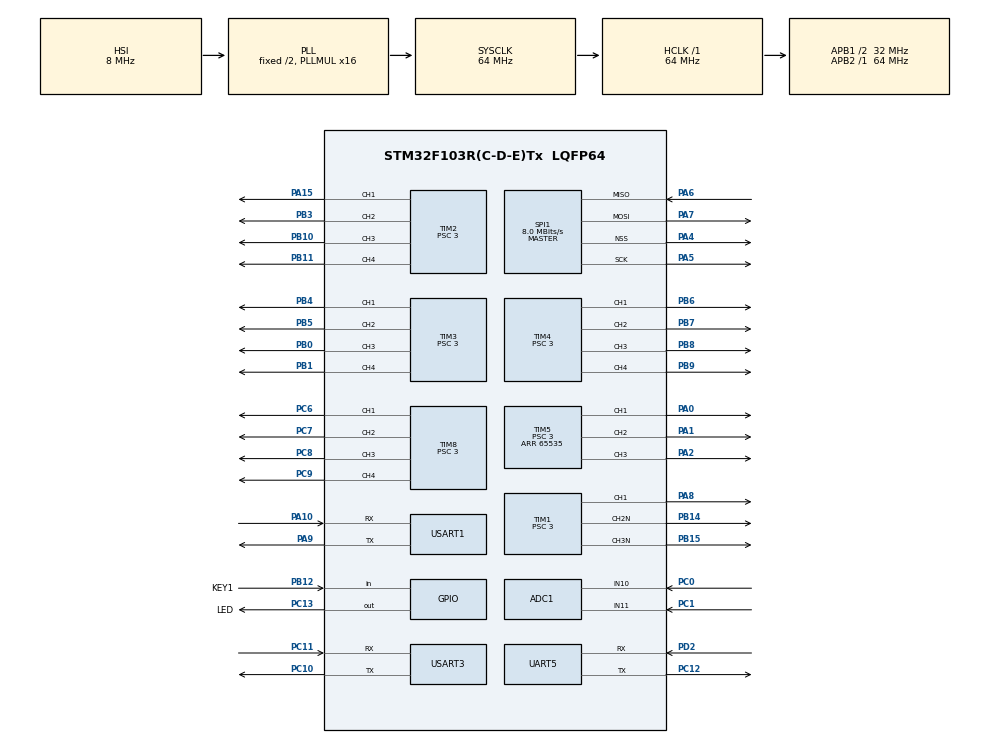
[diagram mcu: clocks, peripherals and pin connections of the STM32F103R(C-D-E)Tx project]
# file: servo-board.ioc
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ADC1.Channel-0\#ChannelRegularConversion=ADC_CHANNEL_11
ADC1.Channel-1\#ChannelRegularConversion=ADC_CHANNEL_10
ADC1.NbrOfConversion=2
ADC1.NbrOfConversionFlag=1
ADC1.Rank-0\#ChannelRegularConversion=1
ADC1.Rank-1\#ChannelRegularConversion=2
ADC1.SamplingTime-0\#ChannelRegularConversion=ADC_SAMPLETIME_1CYCLE_5
ADC1.SamplingTime-1\#ChannelRegularConversion=ADC_SAMPLETIME_1CYCLE_5
ADC1.master=1
Dma.Request0=USART1_RX
Dma.Request1=USART3_RX
Dma.USART1_RX.0.Direction=DMA_PERIPH_TO_MEMORY
Dma.USART1_RX.0.Instance=DMA1_Channel5
Dma.USART1_RX.0.MemDataAlignment=DMA_MDATAALIGN_BYTE
Dma.USART1_RX.0.MemInc=DMA_MINC_ENABLE
Dma.USART1_RX.0.Mode=DMA_NORMAL
Dma.USART1_RX.0.PeriphDataAlignment=DMA_PDATAALIGN_BYTE
Dma.USART1_RX.0.PeriphInc=DMA_PINC_DISABLE
Dma.USART1_RX.0.Priority=DMA_PRIORITY_LOW
Dma.USART3_RX.1.Direction=DMA_PERIPH_TO_MEMORY
Dma.USART3_RX.1.Instance=DMA1_Channel3
Dma.USART3_RX.1.MemDataAlignment=DMA_MDATAALIGN_BYTE
Dma.USART3_RX.1.MemInc=DMA_MINC_ENABLE
Dma.USART3_RX.1.Mode=DMA_NORMAL
Dma.USART3_RX.1.PeriphDataAlignment=DMA_PDATAALIGN_BYTE
Dma.USART3_RX.1.PeriphInc=DMA_PINC_DISABLE
Dma.USART3_RX.1.Priority=DMA_PRIORITY_LOW
Mcu.Family=STM32F1
Mcu.Name=STM32F103R(C-D-E)Tx
Mcu.Package=LQFP64
NVIC.ADC1_2_IRQn=true\:0\:0\:false\:false\:true\:true\:true\:true
NVIC.DMA1_Channel3_IRQn=true\:0\:0\:false\:false\:true\:false\:true\:true
NVIC.DMA1_Channel5_IRQn=true\:0\:0\:false\:false\:true\:false\:true\:true
NVIC.PriorityGroup=NVIC_PRIORITYGROUP_4
NVIC.TIM1_CC_IRQn=true\:0\:0\:false\:false\:true\:true\:true\:true
NVIC.TIM1_UP_IRQn=true\:0\:0\:false\:false\:true\:true\:true\:true
NVIC.TIM2_IRQn=true\:0\:0\:false\:false\:true\:true\:true\:true
NVIC.TIM3_IRQn=true\:0\:0\:false\:false\:true\:true\:true\:true
NVIC.TIM4_IRQn=true\:0\:0\:false\:false\:true\:true\:true\:true
NVIC.TIM5_IRQn=true\:0\:0\:false\:false\:true\:true\:true\:true
NVIC.TIM8_CC_IRQn=true\:0\:0\:false\:false\:true\:true\:true\:true
NVIC.TIM8_UP_IRQn=true\:0\:0\:false\:false\:true\:true\:true\:true
NVIC.UART5_IRQn=true\:0\:0\:false\:false\:true\:true\:true\:true
NVIC.USART1_IRQn=true\:0\:0\:false\:false\:true\:true\:true\:true
NVIC.USART3_IRQn=true\:0\:0\:false\:false\:true\:true\:true\:true
PA0-WKUP.Signal=S_TIM5_CH1
PA1.Signal=S_TIM5_CH2
PA10.Mode=Asynchronous
PA10.Signal=USART1_RX
PA13.Mode=Serial_Wire
PA13.Signal=SYS_JTMS-SWDIO
PA14.Mode=Serial_Wire
PA14.Signal=SYS_JTCK-SWCLK
PA15.Signal=S_TIM2_CH1_ETR
PA2.Signal=S_TIM5_CH3
PA4.Mode=NSS_Signal_Hard_Output
PA4.Signal=SPI1_NSS
PA5.Mode=Full_Duplex_Master
PA5.Signal=SPI1_SCK
PA6.Mode=Full_Duplex_Master
PA6.Signal=SPI1_MISO
PA7.Mode=Full_Duplex_Master
PA7.Signal=SPI1_MOSI
PA8.Signal=S_TIM1_CH1
PA9.Mode=Asynchronous
PA9.Signal=USART1_TX
PB0.Signal=S_TIM3_CH3
PB1.Signal=S_TIM3_CH4
PB10.Signal=S_TIM2_CH3
PB11.Signal=S_TIM2_CH4
PB12.GPIO_Label=KEY1
PB12.Signal=GPIO_Input
PB14.Mode=PWM Generation2 CH2N
PB14.Signal=TIM1_CH2N
PB15.Mode=PWM Generation3 CH3N
PB15.Signal=TIM1_CH3N
PB3.Signal=S_TIM2_CH2
PB4.Signal=S_TIM3_CH1
PB5.Signal=S_TIM3_CH2
PB6.Signal=S_TIM4_CH1
PB7.Signal=S_TIM4_CH2
PB8.Signal=S_TIM4_CH3
PB9.Signal=S_TIM4_CH4
PC0.Signal=ADCx_IN10
PC1.Signal=ADCx_IN11
PC10.Mode=Asynchronous
PC10.Signal=USART3_TX
PC11.Mode=Asynchronous
PC11.Signal=USART3_RX
PC12.Mode=Asynchronous
PC12.Signal=UART5_TX
PC13-TAMPER-RTC.GPIO_Label=LED
PC13-TAMPER-RTC.Signal=GPIO_Output
PC6.Signal=S_TIM8_CH1
PC7.Signal=S_TIM8_CH2
PC8.Signal=S_TIM8_CH3
PC9.Signal=S_TIM8_CH4
PD2.Mode=Asynchronous
PD2.Signal=UART5_RX
ProjectManager.HeapSize=0x200
ProjectManager.StackSize=0x400
ProjectManager.TargetToolchain=STM32CubeIDE
RCC.ADCPresc=RCC_ADCPCLK2_DIV8
RCC.AHBFreq_Value=64000000
RCC.APB1CLKDivider=RCC_HCLK_DIV2
RCC.APB1Freq_Value=32000000
RCC.APB1TimFreq_Value=64000000
RCC.APB2Freq_Value=64000000
RCC.APB2TimFreq_Value=64000000
RCC.HCLKFreq_Value=64000000
RCC.PLLMUL=RCC_PLL_MUL16
RCC.SYSCLKFreq_VALUE=64000000
RCC.SYSCLKSource=RCC_SYSCLKSOURCE_PLLCLK
RCC.USBFreq_Value=64000000
SH.ADCx_IN10.0=ADC1_IN10,IN10
SH.ADCx_IN11.0=ADC1_IN11,IN11
SH.S_TIM1_CH1.0=TIM1_CH1,PWM Generation1 CH1
SH.S_TIM2_CH1_ETR.0=TIM2_CH1,PWM Generation1 CH1
SH.S_TIM2_CH2.0=TIM2_CH2,PWM Generation2 CH2
SH.S_TIM2_CH3.0=TIM2_CH3,PWM Generation3 CH3
SH.S_TIM2_CH4.0=TIM2_CH4,PWM Generation4 CH4
SH.S_TIM3_CH1.0=TIM3_CH1,PWM Generation1 CH1
SH.S_TIM3_CH2.0=TIM3_CH2,PWM Generation2 CH2
SH.S_TIM3_CH3.0=TIM3_CH3,PWM Generation3 CH3
SH.S_TIM3_CH4.0=TIM3_CH4,PWM Generation4 CH4
SH.S_TIM4_CH1.0=TIM4_CH1,PWM Generation1 CH1
SH.S_TIM4_CH2.0=TIM4_CH2,PWM Generation2 CH2
SH.S_TIM4_CH3.0=TIM4_CH3,PWM Generation3 CH3
SH.S_TIM4_CH4.0=TIM4_CH4,PWM Generation4 CH4
SH.S_TIM5_CH1.0=TIM5_CH1,PWM Generation1 CH1
SH.S_TIM5_CH2.0=TIM5_CH2,PWM Generation2 CH2
SH.S_TIM5_CH3.0=TIM5_CH3,PWM Generation3 CH3
SH.S_TIM8_CH1.0=TIM8_CH1,PWM Generation1 CH1
SH.S_TIM8_CH2.0=TIM8_CH2,PWM Generation2 CH2
SH.S_TIM8_CH3.0=TIM8_CH3,PWM Generation3 CH3
SH.S_TIM8_CH4.0=TIM8_CH4,PWM Generation4 CH4
SPI1.BaudRatePrescaler=SPI_BAUDRATEPRESCALER_8
SPI1.CalculateBaudRate=8.0 MBits/s
SPI1.Direction=SPI_DIRECTION_2LINES
SPI1.Mode=SPI_MODE_MASTER
SPI1.VirtualNSS=VM_NSSHARD
SPI1.VirtualType=VM_MASTER
TIM1.Channel-PWM\ Generation1\ CH1=TIM_CHANNEL_1
TIM1.Channel-PWM\ Generation2\ CH2N=TIM_CHANNEL_2
TIM1.Channel-PWM\ Generation3\ CH3N=TIM_CHANNEL_3
TIM1.Prescaler=3
TIM1.Pulse-PWM\ Generation1\ CH1=32767
TIM1.Pulse-PWM\ Generation2\ CH2N=32767
TIM1.Pulse-PWM\ Generation3\ CH3N=32767
TIM2.Channel-PWM\ Generation1\ CH1=TIM_CHANNEL_1
TIM2.Channel-PWM\ Generation2\ CH2=TIM_CHANNEL_2
TIM2.Channel-PWM\ Generation3\ CH3=TIM_CHANNEL_3
TIM2.Channel-PWM\ Generation4\ CH4=TIM_CHANNEL_4
TIM2.Prescaler=3
TIM2.Pulse-PWM\ Generation1\ CH1=32767
TIM2.Pulse-PWM\ Generation2\ CH2=32767
TIM2.Pulse-PWM\ Generation3\ CH3=32767
TIM2.Pulse-PWM\ Generation4\ CH4=32767
TIM3.Channel-PWM\ Generation1\ CH1=TIM_CHANNEL_1
TIM3.Channel-PWM\ Generation2\ CH2=TIM_CHANNEL_2
TIM3.Channel-PWM\ Generation3\ CH3=TIM_CHANNEL_3
TIM3.Channel-PWM\ Generation4\ CH4=TIM_CHANNEL_4
TIM3.Prescaler=3
TIM3.Pulse-PWM\ Generation1\ CH1=32767
TIM3.Pulse-PWM\ Generation2\ CH2=32767
TIM3.Pulse-PWM\ Generation3\ CH3=32767
TIM3.Pulse-PWM\ Generation4\ CH4=32767
TIM4.Channel-PWM\ Generation1\ CH1=TIM_CHANNEL_1
TIM4.Channel-PWM\ Generation2\ CH2=TIM_CHANNEL_2
TIM4.Channel-PWM\ Generation3\ CH3=TIM_CHANNEL_3
TIM4.Channel-PWM\ Generation4\ CH4=TIM_CHANNEL_4
TIM4.Prescaler=3
TIM4.Pulse-PWM\ Generation1\ CH1=32767
TIM4.Pulse-PWM\ Generation2\ CH2=32767
TIM4.Pulse-PWM\ Generation3\ CH3=32767
TIM4.Pulse-PWM\ Generation4\ CH4=32767
TIM5.Channel-PWM\ Generation1\ CH1=TIM_CHANNEL_1
TIM5.Channel-PWM\ Generation2\ CH2=TIM_CHANNEL_2
TIM5.Channel-PWM\ Generation3\ CH3=TIM_CHANNEL_3
TIM5.Period=65535
TIM5.Prescaler=3
TIM5.Pulse-PWM\ Generation1\ CH1=32767
TIM5.Pulse-PWM\ Generation2\ CH2=32767
TIM5.Pulse-PWM\ Generation3\ CH3=32767
TIM8.Channel-PWM\ Generation1\ CH1=TIM_CHANNEL_1
TIM8.Channel-PWM\ Generation2\ CH2=TIM_CHANNEL_2
TIM8.Channel-PWM\ Generation3\ CH3=TIM_CHANNEL_3
TIM8.Channel-PWM\ Generation4\ CH4=TIM_CHANNEL_4
TIM8.Prescaler=3
TIM8.Pulse-PWM\ Generation1\ CH1=32767
TIM8.Pulse-PWM\ Generation2\ CH2=32767
TIM8.Pulse-PWM\ Generation3\ CH3=32767
TIM8.Pulse-PWM\ Generation4\ CH4=32767
UART5.VirtualMode=Asynchronous
USART1.VirtualMode=VM_ASYNC
USART3.VirtualMode=VM_ASYNC
VP_TIM1_VS_ClockSourceINT.Mode=Internal
VP_TIM2_VS_ClockSourceINT.Mode=Internal
VP_TIM3_VS_ClockSourceINT.Mode=Internal
VP_TIM4_VS_ClockSourceINT.Mode=Internal
VP_TIM5_VS_ClockSourceINT.Mode=Internal
VP_TIM8_VS_ClockSourceINT.Mode=Internal
board=custom

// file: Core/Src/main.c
/* USER CODE BEGIN Header */
/**
  ******************************************************************************
  * @file           : main.c
  * @brief          : Main program body
  ******************************************************************************
  * @attention
  *
  * Copyright (c) 2024 STMicroelectronics.
  * All rights reserved.
  *
  * This software is licensed under terms that can be found in the LICENSE file
  * in the root directory of this software component.
  * If no LICENSE file comes with this software, it is provided AS-IS.
  *
  ******************************************************************************
  */
/* USER CODE END Header */
#include "main.h"

ADC_HandleTypeDef hadc1;

SPI_HandleTypeDef hspi1;

TIM_HandleTypeDef htim1;
TIM_HandleTypeDef htim2;
TIM_HandleTypeDef htim3;
TIM_HandleTypeDef htim4;
TIM_HandleTypeDef htim5;
TIM_HandleTypeDef htim8;

UART_HandleTypeDef huart5;
UART_HandleTypeDef huart1;
UART_HandleTypeDef huart3;
DMA_HandleTypeDef hdma_usart1_rx;
DMA_HandleTypeDef hdma_usart3_rx;

void SystemClock_Config(void);
static void MX_GPIO_Init(void);
static void MX_DMA_Init(void);
static void MX_SPI1_Init(void);
static void MX_TIM1_Init(void);
static void MX_TIM2_Init(void);
static void MX_TIM3_Init(void);
static void MX_TIM4_Init(void);
static void MX_TIM8_Init(void);
static void MX_USART1_UART_Init(void);
static void MX_USART3_UART_Init(void);
static void MX_ADC1_Init(void);
static void MX_TIM5_Init(void);
static void MX_UART5_Init(void);

int main(void)
{

  /* MCU Configuration--------------------------------------------------------*/

  /* Reset of all peripherals, Initializes the Flash interface and the Systick. */
  HAL_Init();

  /* Configure the system clock */
  SystemClock_Config();

  /* Initialize all configured peripherals */
  MX_GPIO_Init();
  MX_DMA_Init();
  MX_SPI1_Init();
  MX_TIM1_Init();
  MX_TIM2_Init();
  MX_TIM3_Init();
  MX_TIM4_Init();
  MX_TIM8_Init();
  MX_USART1_UART_Init();
  MX_USART3_UART_Init();
  MX_ADC1_Init();
  MX_TIM5_Init();
  MX_UART5_Init();
  /* USER CODE BEGIN 2 */

    TIM_HandleTypeDef *htim;

    htim = &htim1;
    HAL_TIM_PWM_Start(htim, TIM_CHANNEL_1);
    HAL_TIM_PWM_Start(htim, TIM_CHANNEL_2);
    HAL_TIM_PWM_Start(htim, TIM_CHANNEL_3);
    HAL_TIM_PWM_Start(htim, TIM_CHANNEL_4);

    htim = &htim2;
    HAL_TIM_PWM_Start(htim, TIM_CHANNEL_1);
    HAL_TIM_PWM_Start(htim, TIM_CHANNEL_2);
    HAL_TIM_PWM_Start(htim, TIM_CHANNEL_3);
    HAL_TIM_PWM_Start(htim, TIM_CHANNEL_4);

    htim = &htim3;
    HAL_TIM_PWM_Start(htim, TIM_CHANNEL_1);
    HAL_TIM_PWM_Start(htim, TIM_CHANNEL_2);
    HAL_TIM_PWM_Start(htim, TIM_CHANNEL_3);
    HAL_TIM_PWM_Start(htim, TIM_CHANNEL_4);

    htim = &htim5;
    HAL_TIM_PWM_Start(htim, TIM_CHANNEL_1);
    HAL_TIM_PWM_Start(htim, TIM_CHANNEL_2);
    HAL_TIM_PWM_Start(htim, TIM_CHANNEL_3);
    HAL_TIM_PWM_Start(htim, TIM_CHANNEL_4);

    htim = &htim8;
    HAL_TIM_PWM_Start(htim, TIM_CHANNEL_1);
    HAL_TIM_PWM_Start(htim, TIM_CHANNEL_2);
    HAL_TIM_PWM_Start(htim, TIM_CHANNEL_3);
    HAL_TIM_PWM_Start(htim, TIM_CHANNEL_4);

  /* USER CODE END 2 */

  /* Infinite loop */
  /* USER CODE BEGIN WHILE */

  unsigned int cntr = 0;

  while (1)
  {
    /* USER CODE END WHILE */

      HAL_Delay(1);

      htim = &htim1;
      htim->Instance->CCR1 = cntr;
      htim->Instance->CCR2 = cntr;
      htim->Instance->CCR3 = cntr;
      htim->Instance->CCR4 = cntr;

      htim = &htim2;
      htim->Instance->CCR1 = cntr;
      htim->Instance->CCR2 = cntr;
      htim->Instance->CCR3 = cntr;
      htim->Instance->CCR4 = cntr;

      htim = &htim3;
      htim->Instance->CCR1 = cntr;
      htim->Instance->CCR2 = cntr;
      htim->Instance->CCR3 = cntr;
      htim->Instance->CCR4 = cntr;

      htim = &htim5;
      htim->Instance->CCR1 = cntr;
      htim->Instance->CCR2 = cntr;
      htim->Instance->CCR3 = cntr;
      htim->Instance->CCR4 = cntr;

      htim = &htim8;
      htim->Instance->CCR1 = cntr;
      htim->Instance->CCR2 = cntr;
      htim->Instance->CCR3 = cntr;
      htim->Instance->CCR4 = cntr;

      cntr += 5;
      cntr = cntr & 0xffff;

  }
}

void SystemClock_Config(void)
{
  RCC_OscInitTypeDef RCC_OscInitStruct = {0};
  RCC_ClkInitTypeDef RCC_ClkInitStruct = {0};
  RCC_PeriphCLKInitTypeDef PeriphClkInit = {0};

  /** Initializes the RCC Oscillators according to the specified parameters
  * in the RCC_OscInitTypeDef structure.
  */
  RCC_OscInitStruct.OscillatorType = RCC_OSCILLATORTYPE_HSI;
  RCC_OscInitStruct.HSIState = RCC_HSI_ON;
  RCC_OscInitStruct.HSICalibrationValue = RCC_HSICALIBRATION_DEFAULT;
  RCC_OscInitStruct.PLL.PLLState = RCC_PLL_ON;
  RCC_OscInitStruct.PLL.PLLSource = RCC_PLLSOURCE_HSI_DIV2;
  RCC_OscInitStruct.PLL.PLLMUL = RCC_PLL_MUL16;
  if (HAL_RCC_OscConfig(&RCC_OscInitStruct) != HAL_OK)
  {
    Error_Handler();
  }

  /** Initializes the CPU, AHB and APB buses clocks
  */
  RCC_ClkInitStruct.ClockType = RCC_CLOCKTYPE_HCLK|RCC_CLOCKTYPE_SYSCLK
                              |RCC_CLOCKTYPE_PCLK1|RCC_CLOCKTYPE_PCLK2;
  RCC_ClkInitStruct.SYSCLKSource = RCC_SYSCLKSOURCE_PLLCLK;
  RCC_ClkInitStruct.AHBCLKDivider = RCC_SYSCLK_DIV1;
  RCC_ClkInitStruct.APB1CLKDivider = RCC_HCLK_DIV2;
  RCC_ClkInitStruct.APB2CLKDivider = RCC_HCLK_DIV1;

  if (HAL_RCC_ClockConfig(&RCC_ClkInitStruct, FLASH_LATENCY_2) != HAL_OK)
  {
    Error_Handler();
  }
  PeriphClkInit.PeriphClockSelection = RCC_PERIPHCLK_ADC;
  PeriphClkInit.AdcClockSelection = RCC_ADCPCLK2_DIV8;
  if (HAL_RCCEx_PeriphCLKConfig(&PeriphClkInit) != HAL_OK)
  {
    Error_Handler();
  }
}

static void MX_ADC1_Init(void)
{

  ADC_ChannelConfTypeDef sConfig = {0};

  /** Common config
  */
  hadc1.Instance = ADC1;
  hadc1.Init.ScanConvMode = ADC_SCAN_ENABLE;
  hadc1.Init.ContinuousConvMode = DISABLE;
  hadc1.Init.DiscontinuousConvMode = DISABLE;
  hadc1.Init.ExternalTrigConv = ADC_SOFTWARE_START;
  hadc1.Init.DataAlign = ADC_DATAALIGN_RIGHT;
  hadc1.Init.NbrOfConversion = 2;
  if (HAL_ADC_Init(&hadc1) != HAL_OK)
  {
    Error_Handler();
  }

  /** Configure Regular Channel
  */
  sConfig.Channel = ADC_CHANNEL_11;
  sConfig.Rank = ADC_REGULAR_RANK_1;
  sConfig.SamplingTime = ADC_SAMPLETIME_1CYCLE_5;
  if (HAL_ADC_ConfigChannel(&hadc1, &sConfig) != HAL_OK)
  {
    Error_Handler();
  }

  /** Configure Regular Channel
  */
  sConfig.Channel = ADC_CHANNEL_10;
  sConfig.Rank = ADC_REGULAR_RANK_2;
  if (HAL_ADC_ConfigChannel(&hadc1, &sConfig) != HAL_OK)
  {
    Error_Handler();
  }

}

static void MX_SPI1_Init(void)
{

  /* SPI1 parameter configuration*/
  hspi1.Instance = SPI1;
  hspi1.Init.Mode = SPI_MODE_MASTER;
  hspi1.Init.Direction = SPI_DIRECTION_2LINES;
  hspi1.Init.DataSize = SPI_DATASIZE_8BIT;
  hspi1.Init.CLKPolarity = SPI_POLARITY_LOW;
  hspi1.Init.CLKPhase = SPI_PHASE_1EDGE;
  hspi1.Init.NSS = SPI_NSS_HARD_OUTPUT;
  hspi1.Init.BaudRatePrescaler = SPI_BAUDRATEPRESCALER_8;
  hspi1.Init.FirstBit = SPI_FIRSTBIT_MSB;
  hspi1.Init.TIMode = SPI_TIMODE_DISABLE;
  hspi1.Init.CRCCalculation = SPI_CRCCALCULATION_DISABLE;
  hspi1.Init.CRCPolynomial = 10;
  if (HAL_SPI_Init(&hspi1) != HAL_OK)
  {
    Error_Handler();
  }

}

static void MX_TIM1_Init(void)
{

  TIM_ClockConfigTypeDef sClockSourceConfig = {0};
  TIM_MasterConfigTypeDef sMasterConfig = {0};
  TIM_OC_InitTypeDef sConfigOC = {0};
  TIM_BreakDeadTimeConfigTypeDef sBreakDeadTimeConfig = {0};

  htim1.Instance = TIM1;
  htim1.Init.Prescaler = 3;
  htim1.Init.CounterMode = TIM_COUNTERMODE_UP;
  htim1.Init.Period = 65535;
  htim1.Init.ClockDivision = TIM_CLOCKDIVISION_DIV1;
  htim1.Init.RepetitionCounter = 0;
  htim1.Init.AutoReloadPreload = TIM_AUTORELOAD_PRELOAD_DISABLE;
  if (HAL_TIM_Base_Init(&htim1) != HAL_OK)
  {
    Error_Handler();
  }
  sClockSourceConfig.ClockSource = TIM_CLOCKSOURCE_INTERNAL;
  if (HAL_TIM_ConfigClockSource(&htim1, &sClockSourceConfig) != HAL_OK)
  {
    Error_Handler();
  }
  if (HAL_TIM_PWM_Init(&htim1) != HAL_OK)
  {
    Error_Handler();
  }
  sMasterConfig.MasterOutputTrigger = TIM_TRGO_RESET;
  sMasterConfig.MasterSlaveMode = TIM_MASTERSLAVEMODE_DISABLE;
  if (HAL_TIMEx_MasterConfigSynchronization(&htim1, &sMasterConfig) != HAL_OK)
  {
    Error_Handler();
  }
  sConfigOC.OCMode = TIM_OCMODE_PWM1;
  sConfigOC.Pulse = 32767;
  sConfigOC.OCPolarity = TIM_OCPOLARITY_HIGH;
  sConfigOC.OCNPolarity = TIM_OCNPOLARITY_HIGH;
  sConfigOC.OCFastMode = TIM_OCFAST_DISABLE;
  sConfigOC.OCIdleState = TIM_OCIDLESTATE_RESET;
  sConfigOC.OCNIdleState = TIM_OCNIDLESTATE_RESET;
  if (HAL_TIM_PWM_ConfigChannel(&htim1, &sConfigOC, TIM_CHANNEL_1) != HAL_OK)
  {
    Error_Handler();
  }
  if (HAL_TIM_PWM_ConfigChannel(&htim1, &sConfigOC, TIM_CHANNEL_2) != HAL_OK)
  {
    Error_Handler();
  }
  if (HAL_TIM_PWM_ConfigChannel(&htim1, &sConfigOC, TIM_CHANNEL_3) != HAL_OK)
  {
    Error_Handler();
  }
  sBreakDeadTimeConfig.OffStateRunMode = TIM_OSSR_DISABLE;
  sBreakDeadTimeConfig.OffStateIDLEMode = TIM_OSSI_DISABLE;
  sBreakDeadTimeConfig.LockLevel = TIM_LOCKLEVEL_OFF;
  sBreakDeadTimeConfig.DeadTime = 0;
  sBreakDeadTimeConfig.BreakState = TIM_BREAK_DISABLE;
  sBreakDeadTimeConfig.BreakPolarity = TIM_BREAKPOLARITY_HIGH;
  sBreakDeadTimeConfig.AutomaticOutput = TIM_AUTOMATICOUTPUT_DISABLE;
  if (HAL_TIMEx_ConfigBreakDeadTime(&htim1, &sBreakDeadTimeConfig) != HAL_OK)
  {
    Error_Handler();
  }
  HAL_TIM_MspPostInit(&htim1);

}

static void MX_TIM2_Init(void)
{

  TIM_ClockConfigTypeDef sClockSourceConfig = {0};
  TIM_MasterConfigTypeDef sMasterConfig = {0};
  TIM_OC_InitTypeDef sConfigOC = {0};

  htim2.Instance = TIM2;
  htim2.Init.Prescaler = 3;
  htim2.Init.CounterMode = TIM_COUNTERMODE_UP;
  htim2.Init.Period = 65535;
  htim2.Init.ClockDivision = TIM_CLOCKDIVISION_DIV1;
  htim2.Init.AutoReloadPreload = TIM_AUTORELOAD_PRELOAD_DISABLE;
  if (HAL_TIM_Base_Init(&htim2) != HAL_OK)
  {
    Error_Handler();
  }
  sClockSourceConfig.ClockSource = TIM_CLOCKSOURCE_INTERNAL;
  if (HAL_TIM_ConfigClockSource(&htim2, &sClockSourceConfig) != HAL_OK)
  {
    Error_Handler();
  }
  if (HAL_TIM_PWM_Init(&htim2) != HAL_OK)
  {
    Error_Handler();
  }
  sMasterConfig.MasterOutputTrigger = TIM_TRGO_RESET;
  sMasterConfig.MasterSlaveMode = TIM_MASTERSLAVEMODE_DISABLE;
  if (HAL_TIMEx_MasterConfigSynchronization(&htim2, &sMasterConfig) != HAL_OK)
  {
    Error_Handler();
  }
  sConfigOC.OCMode = TIM_OCMODE_PWM1;
  sConfigOC.Pulse = 32767;
  sConfigOC.OCPolarity = TIM_OCPOLARITY_HIGH;
  sConfigOC.OCFastMode = TIM_OCFAST_DISABLE;
  if (HAL_TIM_PWM_ConfigChannel(&htim2, &sConfigOC, TIM_CHANNEL_1) != HAL_OK)
  {
    Error_Handler();
  }
  if (HAL_TIM_PWM_ConfigChannel(&htim2, &sConfigOC, TIM_CHANNEL_2) != HAL_OK)
  {
    Error_Handler();
  }
  if (HAL_TIM_PWM_ConfigChannel(&htim2, &sConfigOC, TIM_CHANNEL_3) != HAL_OK)
  {
    Error_Handler();
  }
  if (HAL_TIM_PWM_ConfigChannel(&htim2, &sConfigOC, TIM_CHANNEL_4) != HAL_OK)
  {
    Error_Handler();
  }
  HAL_TIM_MspPostInit(&htim2);

}

static void MX_TIM3_Init(void)
{

  TIM_ClockConfigTypeDef sClockSourceConfig = {0};
  TIM_MasterConfigTypeDef sMasterConfig = {0};
  TIM_OC_InitTypeDef sConfigOC = {0};

  htim3.Instance = TIM3;
  htim3.Init.Prescaler = 3;
  htim3.Init.CounterMode = TIM_COUNTERMODE_UP;
  htim3.Init.Period = 65535;
  htim3.Init.ClockDivision = TIM_CLOCKDIVISION_DIV1;
  htim3.Init.AutoReloadPreload = TIM_AUTORELOAD_PRELOAD_DISABLE;
  if (HAL_TIM_Base_Init(&htim3) != HAL_OK)
  {
    Error_Handler();
  }
  sClockSourceConfig.ClockSource = TIM_CLOCKSOURCE_INTERNAL;
  if (HAL_TIM_ConfigClockSource(&htim3, &sClockSourceConfig) != HAL_OK)
  {
    Error_Handler();
  }
  if (HAL_TIM_PWM_Init(&htim3) != HAL_OK)
  {
    Error_Handler();
  }
  sMasterConfig.MasterOutputTrigger = TIM_TRGO_RESET;
  sMasterConfig.MasterSlaveMode = TIM_MASTERSLAVEMODE_DISABLE;
  if (HAL_TIMEx_MasterConfigSynchronization(&htim3, &sMasterConfig) != HAL_OK)
  {
    Error_Handler();
  }
  sConfigOC.OCMode = TIM_OCMODE_PWM1;
  sConfigOC.Pulse = 32767;
  sConfigOC.OCPolarity = TIM_OCPOLARITY_HIGH;
  sConfigOC.OCFastMode = TIM_OCFAST_DISABLE;
  if (HAL_TIM_PWM_ConfigChannel(&htim3, &sConfigOC, TIM_CHANNEL_1) != HAL_OK)
  {
    Error_Handler();
  }
  if (HAL_TIM_PWM_ConfigChannel(&htim3, &sConfigOC, TIM_CHANNEL_2) != HAL_OK)
  {
    Error_Handler();
  }
  if (HAL_TIM_PWM_ConfigChannel(&htim3, &sConfigOC, TIM_CHANNEL_3) != HAL_OK)
  {
    Error_Handler();
  }
  if (HAL_TIM_PWM_ConfigChannel(&htim3, &sConfigOC, TIM_CHANNEL_4) != HAL_OK)
  {
    Error_Handler();
  }
  HAL_TIM_MspPostInit(&htim3);

}

static void MX_TIM4_Init(void)
{

  TIM_ClockConfigTypeDef sClockSourceConfig = {0};
  TIM_MasterConfigTypeDef sMasterConfig = {0};
  TIM_OC_InitTypeDef sConfigOC = {0};

  htim4.Instance = TIM4;
  htim4.Init.Prescaler = 3;
  htim4.Init.CounterMode = TIM_COUNTERMODE_UP;
  htim4.Init.Period = 65535;
  htim4.Init.ClockDivision = TIM_CLOCKDIVISION_DIV1;
  htim4.Init.AutoReloadPreload = TIM_AUTORELOAD_PRELOAD_DISABLE;
  if (HAL_TIM_Base_Init(&htim4) != HAL_OK)
  {
    Error_Handler();
  }
  sClockSourceConfig.ClockSource = TIM_CLOCKSOURCE_INTERNAL;
  if (HAL_TIM_ConfigClockSource(&htim4, &sClockSourceConfig) != HAL_OK)
  {
    Error_Handler();
  }
  if (HAL_TIM_PWM_Init(&htim4) != HAL_OK)
  {
    Error_Handler();
  }
  sMasterConfig.MasterOutputTrigger = TIM_TRGO_RESET;
  sMasterConfig.MasterSlaveMode = TIM_MASTERSLAVEMODE_DISABLE;
  if (HAL_TIMEx_MasterConfigSynchronization(&htim4, &sMasterConfig) != HAL_OK)
  {
    Error_Handler();
  }
  sConfigOC.OCMode = TIM_OCMODE_PWM1;
  sConfigOC.Pulse = 32767;
  sConfigOC.OCPolarity = TIM_OCPOLARITY_HIGH;
  sConfigOC.OCFastMode = TIM_OCFAST_DISABLE;
  if (HAL_TIM_PWM_ConfigChannel(&htim4, &sConfigOC, TIM_CHANNEL_1) != HAL_OK)
  {
    Error_Handler();
  }
  if (HAL_TIM_PWM_ConfigChannel(&htim4, &sConfigOC, TIM_CHANNEL_2) != HAL_OK)
  {
    Error_Handler();
  }
  if (HAL_TIM_PWM_ConfigChannel(&htim4, &sConfigOC, TIM_CHANNEL_3) != HAL_OK)
  {
    Error_Handler();
  }
  if (HAL_TIM_PWM_ConfigChannel(&htim4, &sConfigOC, TIM_CHANNEL_4) != HAL_OK)
  {
    Error_Handler();
  }
  HAL_TIM_MspPostInit(&htim4);

}

static void MX_TIM5_Init(void)
{

  TIM_ClockConfigTypeDef sClockSourceConfig = {0};
  TIM_MasterConfigTypeDef sMasterConfig = {0};
  TIM_OC_InitTypeDef sConfigOC = {0};

  htim5.Instance = TIM5;
  htim5.Init.Prescaler = 3;
  htim5.Init.CounterMode = TIM_COUNTERMODE_UP;
  htim5.Init.Period = 65535;
  htim5.Init.ClockDivision = TIM_CLOCKDIVISION_DIV1;
  htim5.Init.AutoReloadPreload = TIM_AUTORELOAD_PRELOAD_DISABLE;
  if (HAL_TIM_Base_Init(&htim5) != HAL_OK)
  {
    Error_Handler();
  }
  sClockSourceConfig.ClockSource = TIM_CLOCKSOURCE_INTERNAL;
  if (HAL_TIM_ConfigClockSource(&htim5, &sClockSourceConfig) != HAL_OK)
  {
    Error_Handler();
  }
  if (HAL_TIM_PWM_Init(&htim5) != HAL_OK)
  {
    Error_Handler();
  }
  sMasterConfig.MasterOutputTrigger = TIM_TRGO_RESET;
  sMasterConfig.MasterSlaveMode = TIM_MASTERSLAVEMODE_DISABLE;
  if (HAL_TIMEx_MasterConfigSynchronization(&htim5, &sMasterConfig) != HAL_OK)
  {
    Error_Handler();
  }
  sConfigOC.OCMode = TIM_OCMODE_PWM1;
  sConfigOC.Pulse = 32767;
  sConfigOC.OCPolarity = TIM_OCPOLARITY_HIGH;
  sConfigOC.OCFastMode = TIM_OCFAST_DISABLE;
  if (HAL_TIM_PWM_ConfigChannel(&htim5, &sConfigOC, TIM_CHANNEL_1) != HAL_OK)
  {
    Error_Handler();
  }
  if (HAL_TIM_PWM_ConfigChannel(&htim5, &sConfigOC, TIM_CHANNEL_2) != HAL_OK)
  {
    Error_Handler();
  }
  if (HAL_TIM_PWM_ConfigChannel(&htim5, &sConfigOC, TIM_CHANNEL_3) != HAL_OK)
  {
    Error_Handler();
  }
  HAL_TIM_MspPostInit(&htim5);

}

static void MX_TIM8_Init(void)
{

  TIM_ClockConfigTypeDef sClockSourceConfig = {0};
  TIM_MasterConfigTypeDef sMasterConfig = {0};
  TIM_OC_InitTypeDef sConfigOC = {0};
  TIM_BreakDeadTimeConfigTypeDef sBreakDeadTimeConfig = {0};

  htim8.Instance = TIM8;
  htim8.Init.Prescaler = 3;
  htim8.Init.CounterMode = TIM_COUNTERMODE_UP;
  htim8.Init.Period = 65535;
  htim8.Init.ClockDivision = TIM_CLOCKDIVISION_DIV1;
  htim8.Init.RepetitionCounter = 0;
  htim8.Init.AutoReloadPreload = TIM_AUTORELOAD_PRELOAD_DISABLE;
  if (HAL_TIM_Base_Init(&htim8) != HAL_OK)
  {
    Error_Handler();
  }
  sClockSourceConfig.ClockSource = TIM_CLOCKSOURCE_INTERNAL;
  if (HAL_TIM_ConfigClockSource(&htim8, &sClockSourceConfig) != HAL_OK)
  {
    Error_Handler();
  }
  if (HAL_TIM_PWM_Init(&htim8) != HAL_OK)
  {
    Error_Handler();
  }
  sMasterConfig.MasterOutputTrigger = TIM_TRGO_RESET;
  sMasterConfig.MasterSlaveMode = TIM_MASTERSLAVEMODE_DISABLE;
  if (HAL_TIMEx_MasterConfigSynchronization(&htim8, &sMasterConfig) != HAL_OK)
  {
    Error_Handler();
  }
  sConfigOC.OCMode = TIM_OCMODE_PWM1;
  sConfigOC.Pulse = 32767;
  sConfigOC.OCPolarity = TIM_OCPOLARITY_HIGH;
  sConfigOC.OCNPolarity = TIM_OCNPOLARITY_HIGH;
  sConfigOC.OCFastMode = TIM_OCFAST_DISABLE;
  sConfigOC.OCIdleState = TIM_OCIDLESTATE_RESET;
  sConfigOC.OCNIdleState = TIM_OCNIDLESTATE_RESET;
  if (HAL_TIM_PWM_ConfigChannel(&htim8, &sConfigOC, TIM_CHANNEL_1) != HAL_OK)
  {
    Error_Handler();
  }
  if (HAL_TIM_PWM_ConfigChannel(&htim8, &sConfigOC, TIM_CHANNEL_2) != HAL_OK)
  {
    Error_Handler();
  }
  if (HAL_TIM_PWM_ConfigChannel(&htim8, &sConfigOC, TIM_CHANNEL_3) != HAL_OK)
  {
    Error_Handler();
  }
  if (HAL_TIM_PWM_ConfigChannel(&htim8, &sConfigOC, TIM_CHANNEL_4) != HAL_OK)
  {
    Error_Handler();
  }
  sBreakDeadTimeConfig.OffStateRunMode = TIM_OSSR_DISABLE;
  sBreakDeadTimeConfig.OffStateIDLEMode = TIM_OSSI_DISABLE;
  sBreakDeadTimeConfig.LockLevel = TIM_LOCKLEVEL_OFF;
  sBreakDeadTimeConfig.DeadTime = 0;
  sBreakDeadTimeConfig.BreakState = TIM_BREAK_DISABLE;
  sBreakDeadTimeConfig.BreakPolarity = TIM_BREAKPOLARITY_HIGH;
  sBreakDeadTimeConfig.AutomaticOutput = TIM_AUTOMATICOUTPUT_DISABLE;
  if (HAL_TIMEx_ConfigBreakDeadTime(&htim8, &sBreakDeadTimeConfig) != HAL_OK)
  {
    Error_Handler();
  }
  HAL_TIM_MspPostInit(&htim8);

}

static void MX_UART5_Init(void)
{

  huart5.Instance = UART5;
  huart5.Init.BaudRate = 115200;
  huart5.Init.WordLength = UART_WORDLENGTH_8B;
  huart5.Init.StopBits = UART_STOPBITS_1;
  huart5.Init.Parity = UART_PARITY_NONE;
  huart5.Init.Mode = UART_MODE_TX_RX;
  huart5.Init.HwFlowCtl = UART_HWCONTROL_NONE;
  huart5.Init.OverSampling = UART_OVERSAMPLING_16;
  if (HAL_UART_Init(&huart5) != HAL_OK)
  {
    Error_Handler();
  }

}

static void MX_USART1_UART_Init(void)
{

  huart1.Instance = USART1;
  huart1.Init.BaudRate = 115200;
  huart1.Init.WordLength = UART_WORDLENGTH_8B;
  huart1.Init.StopBits = UART_STOPBITS_1;
  huart1.Init.Parity = UART_PARITY_NONE;
  huart1.Init.Mode = UART_MODE_TX_RX;
  huart1.Init.HwFlowCtl = UART_HWCONTROL_NONE;
  huart1.Init.OverSampling = UART_OVERSAMPLING_16;
  if (HAL_UART_Init(&huart1) != HAL_OK)
  {
    Error_Handler();
  }

}

static void MX_USART3_UART_Init(void)
{

  huart3.Instance = USART3;
  huart3.Init.BaudRate = 115200;
  huart3.Init.WordLength = UART_WORDLENGTH_8B;
  huart3.Init.StopBits = UART_STOPBITS_1;
  huart3.Init.Parity = UART_PARITY_NONE;
  huart3.Init.Mode = UART_MODE_TX_RX;
  huart3.Init.HwFlowCtl = UART_HWCONTROL_NONE;
  huart3.Init.OverSampling = UART_OVERSAMPLING_16;
  if (HAL_UART_Init(&huart3) != HAL_OK)
  {
    Error_Handler();
  }

}

static void MX_DMA_Init(void)
{

  /* DMA controller clock enable */
  __HAL_RCC_DMA1_CLK_ENABLE();

  /* DMA interrupt init */
  /* DMA1_Channel3_IRQn interrupt configuration */
  HAL_NVIC_SetPriority(DMA1_Channel3_IRQn, 0, 0);
  HAL_NVIC_EnableIRQ(DMA1_Channel3_IRQn);
  /* DMA1_Channel5_IRQn interrupt configuration */
  HAL_NVIC_SetPriority(DMA1_Channel5_IRQn, 0, 0);
  HAL_NVIC_EnableIRQ(DMA1_Channel5_IRQn);

}

static void MX_GPIO_Init(void)
{
  GPIO_InitTypeDef GPIO_InitStruct = {0};

  /* GPIO Ports Clock Enable */
  __HAL_RCC_GPIOC_CLK_ENABLE();
  __HAL_RCC_GPIOA_CLK_ENABLE();
  __HAL_RCC_GPIOB_CLK_ENABLE();
  __HAL_RCC_GPIOD_CLK_ENABLE();

  /*Configure GPIO pin Output Level */
  HAL_GPIO_WritePin(LED_GPIO_Port, LED_Pin, GPIO_PIN_RESET);

  /*Configure GPIO pin : LED_Pin */
  GPIO_InitStruct.Pin = LED_Pin;
  GPIO_InitStruct.Mode = GPIO_MODE_OUTPUT_PP;
  GPIO_InitStruct.Pull = GPIO_NOPULL;
  GPIO_InitStruct.Speed = GPIO_SPEED_FREQ_LOW;
  HAL_GPIO_Init(LED_GPIO_Port, &GPIO_InitStruct);

  /*Configure GPIO pin : KEY1_Pin */
  GPIO_InitStruct.Pin = KEY1_Pin;
  GPIO_InitStruct.Mode = GPIO_MODE_INPUT;
  GPIO_InitStruct.Pull = GPIO_NOPULL;
  HAL_GPIO_Init(KEY1_GPIO_Port, &GPIO_InitStruct);

}

void Error_Handler(void)
{
  __disable_irq();
  while (1)
  {
  }
}
